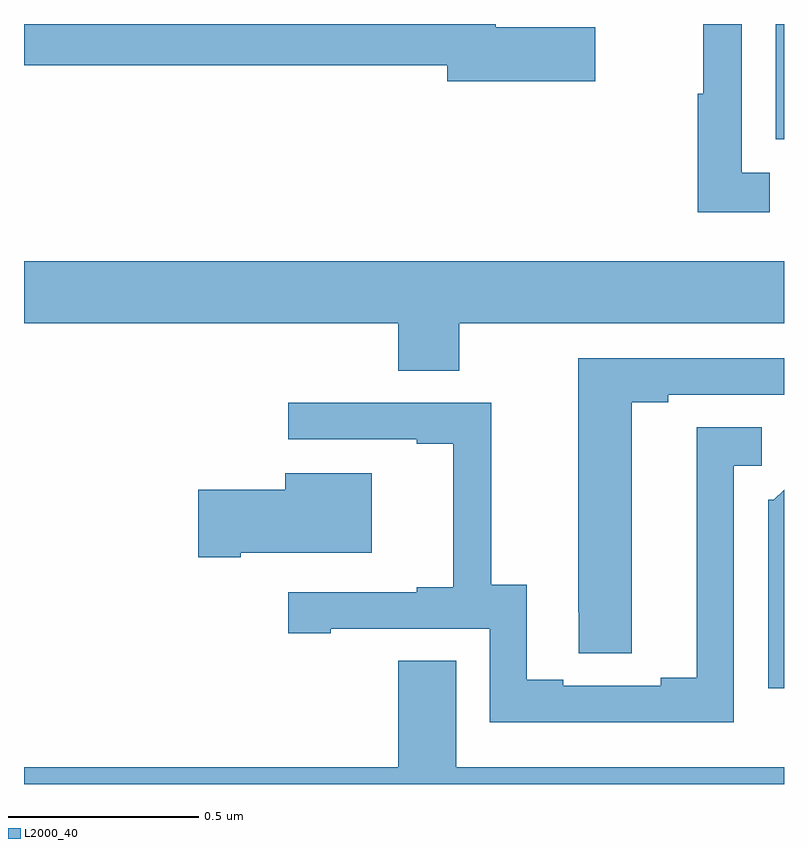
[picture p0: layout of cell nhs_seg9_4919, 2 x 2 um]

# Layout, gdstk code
import gdstk
lib = gdstk.Library(unit=1e-6, precision=1e-09)
def R(c, l, rs):  # rectangles x0, y0, x1, y1
    for r in rs: c.add(gdstk.rectangle(r[:2], r[2:], *l))
def P(c, l, *ps):  # polygons
    for p in ps: c.add(gdstk.Polygon(p, *l))
L2000_40 = (2000, 40)

nhs_seg9_4919 = lib.new_cell('nhs_seg9_4919')
R(nhs_seg9_4919, L2000_40, [(173.978,1238.197,174,1238.5)])
P(nhs_seg9_4919, L2000_40, [(173.503,1238.492),(173.242,1238.492),(173.242,1238.5),(172,1238.5),(172,1238.392),(173.114,1238.392),(173.114,1238.35),(173.503,1238.35)],
  [(173.962,1238.109),(173.889,1238.109),(173.889,1238.5),(173.788,1238.5),(173.788,1238.316),(173.773,1238.316),(173.773,1238.004),(173.962,1238.004)],
  [(173.145,1237.712),(174,1237.712),(174,1237.876),(172,1237.876),(172,1237.712),(172.985,1237.712),(172.985,1237.588),(173.145,1237.588)],
  [(173.599,1237.504),(173.695,1237.504),(173.695,1237.524),(174,1237.524),(174,1237.62),(173.459,1237.62),(173.459,1236.952),(173.46,1236.952),(173.46,1236.844),(173.599,1236.844)],
  [(173.868,1237.338),(173.941,1237.338),(173.941,1237.439),(173.771,1237.439),(173.771,1236.779),(173.675,1236.779),(173.675,1236.759),(173.419,1236.759),(173.419,1236.774),(173.323,1236.774),(173.323,1237.025),(173.229,1237.025),(173.229,1237.503),(172.695,1237.503),(172.695,1237.407),(173.033,1237.407),(173.033,1237.395),(173.129,1237.395),(173.129,1237.018),(173.033,1237.018),(173.033,1237.005),(172.695,1237.005),(172.695,1236.897),(172.807,1236.897),(172.807,1236.909),(173.226,1236.909),(173.226,1236.663),(173.868,1236.663)],
  [(172.57,1237.109),(172.915,1237.109),(172.915,1237.318),(172.688,1237.318),(172.688,1237.275),(172.458,1237.275),(172.458,1237.097),(172.57,1237.097)],
  [(174,1237.275),(173.973,1237.248),(173.958,1237.248),(173.958,1236.752),(174,1236.752)],
  [(174,1236.544),(173.137,1236.544),(173.137,1236.824),(172.985,1236.824),(172.985,1236.544),(172,1236.544),(172,1236.5),(174,1236.5)])

lib.write_gds('nhs_seg9_4919.gds')
